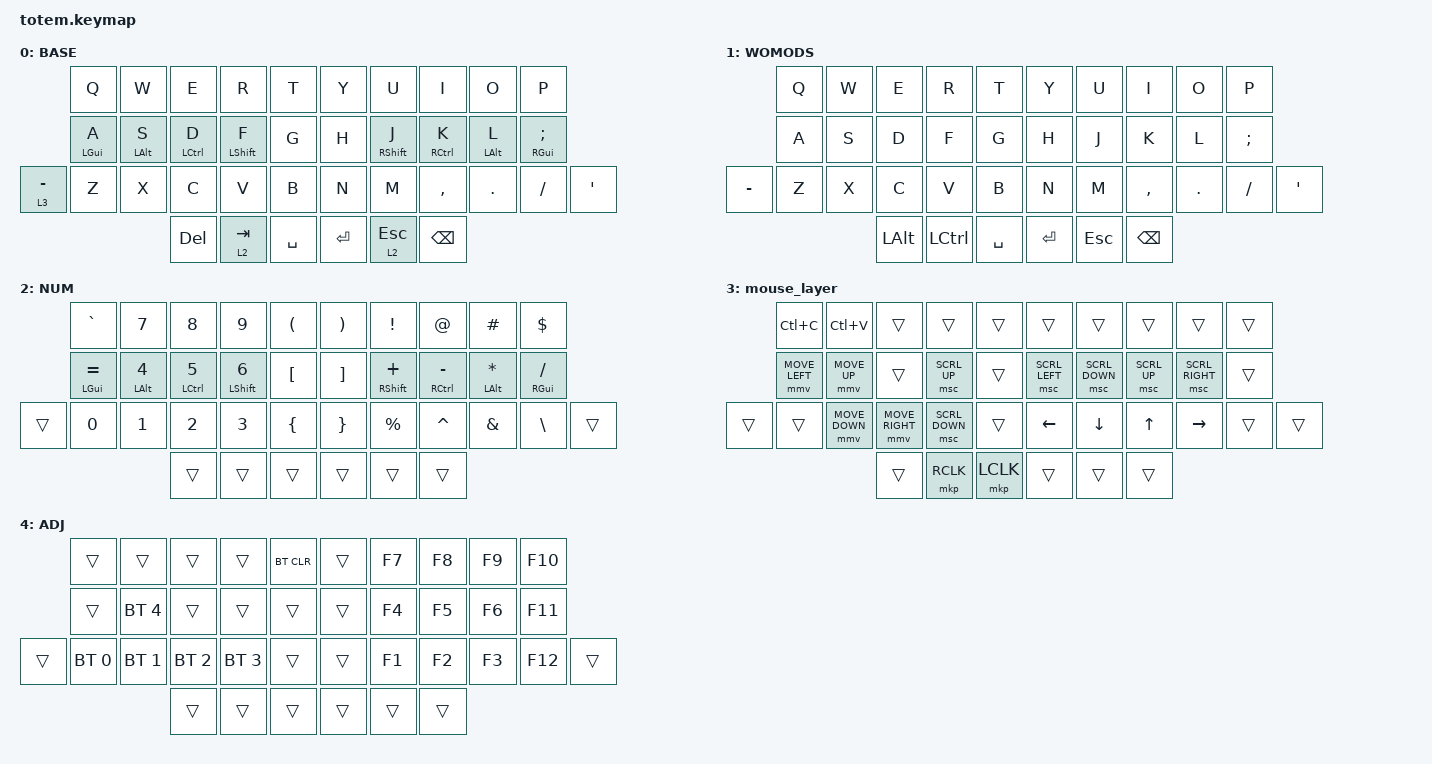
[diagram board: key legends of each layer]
//
//                                                        ▀▀▀▀▀     ▀▀▀▀▀          ▀▀█▀▀
//                                                        ▄▀▀▀▄  ▄  ▄▀▀▀▄  ▄  ▄▀▀▀▄  █  ▄▀▀▀▄
//                                                        █   █  █  █   █  █  █   █  █  █   █
//                                                         ▀▀▀   █   ▀▀▀   █   ▀▀▀   ▀   ▀▀▀
//                                                               █      ▄▄▄█▄▄▄    █   █  
//                                                               ▀      █  █  █     █▄█
//                                                             ▀▀▀▀▀    █  █  █      ▀
//                                                                      ▀  ▀  ▀
//
// ▄▄▄▄▄▄▄▄▄▄▄▄▄▄▄▄▄▄▄▄▄▄▄▄▄▄▄▄▄▄▄▄▄▄▄▄▄▄▄▄▄▄▄▄▄▄▄▄▄▄▄▄▄▄▄▄▄▄▄▄▄▄▄▄▄▄▄▄▄▄▄▄▄▄▄▄▄▄▄▄▄▄▄▄▄▄▄▄▄▄▄▄▄▄▄▄▄▄▄▄▄▄▄▄▄▄▄▄▄▄▄▄▄▄▄▄▄▄▄▄▄▄▄▄▄▄▄▄▄▄▄▄▄▄▄▄▄▄▄▄▄▄▄▄▄▄▄▄▄

#include <behaviors.dtsi>
#include <dt-bindings/zmk/bt.h>
#include <dt-bindings/zmk/keys.h>
#include <dt-bindings/zmk/pointing.h>

#define BASE 0
#define NAV  1
#define SYM  2
#define ADJ  3
#define TVP1 4
#define TVP2 5

&mt {
    quick-tap-ms = <100>;
    global-quick-tap;
    flavor = "tap-preferred";
    tapping-term-ms = <170>;
};

/ {
    combos {
        compatible = "zmk,combos";

        toggle-home-row-mods-left {
            timeout-ms = <30>;
            key-positions = <11 12 13 10>;
            bindings = <&tog 1>;
        };

        toggle-home-row-mods-right {
            bindings = <&tog 1>;
            key-positions = <16 17 18 19>;
            timeout-ms = <30>;
        };

        ralt {
            bindings = <&kp RIGHT_ALT>;
            key-positions = <18 17>;
            timeout-ms = <30>;
        };

        ralt2 {
            bindings = <&kp RIGHT_ALT>;
            key-positions = <11 12>;
            timeout-ms = <30>;
        };

        esc {
            bindings = <&kp ESC>;
            key-positions = <0 1>;
            timeout-ms = <30>;
        };

        toggle-blt {
            bindings = <&tog 4>;
            key-positions = <32 37>;
        };
    };

    macros {
        gif: gif {
            label = "giphy";
            compatible = "zmk,behavior-macro";
            #binding-cells = <0>;
            bindings =
                <&macro_press>,
                <&kp LSHFT>,
                <&macro_tap>,
                <&kp N2>,
                <&macro_release>,
                <&kp LSHFT>,
                <&macro_tap>,
                <&kp G &kp I &kp F>;
        };
    };

    keymap {
        compatible = "zmk,keymap";

        // ▄▄▄▄▄▄▄▄▄▄▄▄▄▄▄▄▄▄▄▄▄▄▄▄▄▄▄▄▄▄▄▄▄▄▄▄▄▄▄▄▄▄▄▄▄▄▄▄▄▄▄▄▄▄▄▄▄▄▄▄▄▄▄▄▄▄▄▄▄▄▄▄▄▄▄▄▄▄▄▄▄▄▄▄▄▄▄▄▄▄▄▄▄▄▄▄▄▄▄▄▄▄▄▄▄▄▄▄▄▄▄▄▄▄▄▄▄▄▄▄▄▄▄▄▄▄▄▄▄▄▄▄▄▄▄▄▄▄▄▄▄▄▄▄▄▄▄▄▄

        base_layer {
            // ┏━━━━━━━━━━━━━━━━━━━━━━━━━━━━━━━━━━━━━━━┓

            label = "BASE";

            // ┗━━━━━━━━━━━━━━━━━━━━━━━━━━━━━━━━━━━━━━━┛
            //             ┏━━━━━━━━━━━┳━━━━━━━━━━━┳━━━━━━━━━━━┳━━━━━━━━━━━┳━━━━━━━━━━━┓   ┏━━━━━━━━━━━┳━━━━━━━━━━━┳━━━━━━━━━━━┳━━━━━━━━━━━┳━━━━━━━━━━━┓
            //             ┃     Q     ┃     W     ┃     F     ┃     P     ┃     G     ┃   ┃     J     ┃     L     ┃     U     ┃     Y     ┃     ;     ┃
            //             ┣━━━━━━━━━━━╋━━━━━━━━━━━╋━━━━━━━━━━━╋━━━━━━━━━━━╋━━━━━━━━━━━┫   ┣━━━━━━━━━━━╋━━━━━━━━━━━╋━━━━━━━━━━━╋━━━━━━━━━━━╋━━━━━━━━━━━┫
            //             ┃     A     ┃     R     ┃     S     ┃     T     ┃     D     ┃   ┃     H     ┃     N     ┃     E     ┃     I     ┃     O     ┃
            // ┏━━━━━━━━━━━╋━━━━━━━━━━━╋━━━━━━━━━━━╋━━━━━━━━━━━╋━━━━━━━━━━━╋━━━━━━━━━━━┫   ┣━━━━━━━━━━━╋━━━━━━━━━━━╋━━━━━━━━━━━╋━━━━━━━━━━━╋━━━━━━━━━━━╋━━━━━━━━━━━┓
            // ┃     Q     ┃     Z     ┃     X     ┃     C     ┃     V     ┃     B     ┃   ┃     K     ┃     M     ┃     ,     ┃     .     ┃     /     ┃     \     ┃
            // ┗━━━━━━━━━━━┻━━━━━━━━━━━┻━━━━━━━━━━━╋━━━━━━━━━━━╋━━━━━━━━━━━╋━━━━━━━━━━━┫   ┣━━━━━━━━━━━╋━━━━━━━━━━━╋━━━━━━━━━━━╋━━━━━━━━━━━┻━━━━━━━━━━━┻━━━━━━━━━━━┛
            //                                     ┃    DEL    ┃    TAB    ┃    SPC    ┃   ┃   ENTER   ┃           ┃   BSPC    ┃
            //                                     ┗━━━━━━━━━━━┻━━━━━━━━━━━┻━━━━━━━━━━━┛   ┗━━━━━━━━━━━┻━━━━━━━━━━━┻━━━━━━━━━━━┛

            bindings = <
             &kp Q       &kp W       &kp E        &kp R        &kp T        &kp Y    &kp U        &kp I        &kp O       &kp P
             &mt LGUI A  &mt LALT S  &mt LCTRL D  &mt LSHFT F  &kp G        &kp H    &mt RSHFT J  &mt RCTRL K  &mt LALT L  &mt RGUI SEMICOLON
&lt 3 MINUS  &kp Z       &kp X       &kp C        &kp V        &kp B        &kp N    &kp M        &kp COMMA    &kp DOT     &kp FSLH            &kp SQT
                                     &kp DEL      &lt 2 TAB    &kp SPACE    &kp RET  &lt 2 ESC    &kp BSPC
            >;
        };

        modless_layer {
            label = "WOMODS";
            bindings = <
           &kp Q  &kp W  &kp E         &kp R      &kp T        &kp Y    &kp U    &kp I      &kp O    &kp P
           &kp A  &kp S  &kp D         &kp F      &kp G        &kp H    &kp J    &kp K      &kp L    &kp SEMICOLON
&kp MINUS  &kp Z  &kp X  &kp C         &kp V      &kp B        &kp N    &kp M    &kp COMMA  &kp DOT  &kp FSLH       &kp SQT
                         &kp LEFT_ALT  &kp LCTRL  &kp SPACE    &kp RET  &kp ESC  &kp BSPC
            >;
        };

        num_layer {
            // ┏━━━━━━━━━━━━━━━━━━━━━━━━━━━━━━━━━━━━━━━┓

            label = "NUM";

            // ┗━━━━━━━━━━━━━━━━━━━━━━━━━━━━━━━━━━━━━━━┛
            //             ┏━━━━━━━━━━━┳━━━━━━━━━━━┳━━━━━━━━━━━┳━━━━━━━━━━━┳━━━━━━━━━━━┓   ┏━━━━━━━━━━━┳━━━━━━━━━━━┳━━━━━━━━━━━┳━━━━━━━━━━━┳━━━━━━━━━━━┓
            //             ┃           ┃           ┃     UP    ┃           ┃     {     ┃   ┃     }     ┃     7     ┃     8     ┃     9     ┃     +     ┃
            //             ┣━━━━━━━━━━━╋━━━━━━━━━━━╋━━━━━━━━━━━╋━━━━━━━━━━━╋━━━━━━━━━━━┫   ┣━━━━━━━━━━━╋━━━━━━━━━━━╋━━━━━━━━━━━╋━━━━━━━━━━━╋━━━━━━━━━━━┫
            //             ┃   SHIFT   ┃   LEFT    ┃    DOWN   ┃   RIGHT   ┃     [     ┃   ┃     ]     ┃     4     ┃     5     ┃     6     ┃     -     ┃
            // ┏━━━━━━━━━━━╋━━━━━━━━━━━╋━━━━━━━━━━━╋━━━━━━━━━━━╋━━━━━━━━━━━╋━━━━━━━━━━━┫   ┣━━━━━━━━━━━╋━━━━━━━━━━━╋━━━━━━━━━━━╋━━━━━━━━━━━╋━━━━━━━━━━━╋━━━━━━━━━━━┓
            // ┃           ┃           ┃   P UP    ┃  C LOCK   ┃  P DOWN   ┃     (     ┃   ┃     )     ┃     1     ┃     2     ┃     3     ┃     *     ┃           ┃
            // ┗━━━━━━━━━━━┻━━━━━━━━━━━┻━━━━━━━━━━━╋━━━━━━━━━━━╋━━━━━━━━━━━╋━━━━━━━━━━━┫   ┣━━━━━━━━━━━╋━━━━━━━━━━━╋━━━━━━━━━━━╋━━━━━━━━━━━┻━━━━━━━━━━━┻━━━━━━━━━━━┛
            //                                     ┃           ┃    TAB    ┃    SPC    ┃   ┃    DEL    ┃     0     ┃           ┃
            //                                     ┗━━━━━━━━━━━┻━━━━━━━━━━━┻━━━━━━━━━━━┛   ┗━━━━━━━━━━━┻━━━━━━━━━━━┻━━━━━━━━━━━┛

            bindings = <
        &kp GRAVE       &kp N7             &kp N8        &kp N9               &kp LEFT_PARENTHESIS    &kp RIGHT_PARENTHESIS  &kp EXCLAMATION       &kp AT_SIGN      &kp POUND              &kp DOLLAR
        &mt LGUI EQUAL  &mt LALT NUMBER_4  &mt LCTRL N5  &mt LSHIFT NUMBER_6  &kp LBKT                &kp RBKT               &mt RIGHT_SHIFT PLUS  &mt RCTRL MINUS  &mt LEFT_ALT ASTERISK  &mt RGUI SLASH
&trans  &kp N0          &kp NUMBER_1       &kp NUMBER_2  &kp NUMBER_3         &kp LEFT_BRACE          &kp RIGHT_BRACE        &kp PERCENT           &kp CARET        &kp AMPERSAND          &kp BACKSLASH   &trans
                                           &trans        &trans               &trans                  &trans                 &trans                &trans
            >;
        };

        mouse_layer {
            bindings = <
        &kp LC(C)       &kp LC(V)       &trans           &trans          &trans       &trans          &trans          &trans        &trans           &trans
        &mmv MOVE_LEFT  &mmv MOVE_UP    &trans           &msc SCRL_UP    &trans       &msc SCRL_LEFT  &msc SCRL_DOWN  &msc SCRL_UP  &msc SCRL_RIGHT  &trans
&trans  &trans          &mmv MOVE_DOWN  &mmv MOVE_RIGHT  &msc SCRL_DOWN  &trans       &kp LEFT        &kp DOWN        &kp UP_ARROW  &kp RIGHT        &trans  &trans
                                        &trans           &mkp RCLK       &mkp LCLK    &trans          &trans          &trans
            >;
        };

        adjust_layer {
            // ┏━━━━━━━━━━━━━━━━━━━━━━━━━━━━━━━━━━━━━━━┓

            label = "ADJ";

            // ┗━━━━━━━━━━━━━━━━━━━━━━━━━━━━━━━━━━━━━━━┛
            //             ┏━━━━━━━━━━━┳━━━━━━━━━━━┳━━━━━━━━━━━┳━━━━━━━━━━━┳━━━━━━━━━━━┓   ┏━━━━━━━━━━━┳━━━━━━━━━━━┳━━━━━━━━━━━┳━━━━━━━━━━━┳━━━━━━━━━━━┓
            //             ┃   RESET   ┃ BT CLEAR  ┃  OUT TOG  ┃           ┃           ┃   ┃           ┃    F7     ┃    F8     ┃    F9     ┃    F12    ┃
            //             ┣━━━━━━━━━━━╋━━━━━━━━━━━╋━━━━━━━━━━━╋━━━━━━━━━━━╋━━━━━━━━━━━┫   ┣━━━━━━━━━━━╋━━━━━━━━━━━╋━━━━━━━━━━━╋━━━━━━━━━━━╋━━━━━━━━━━━┫
            //             ┃ BOOTLOAD  ┃ BT NEXT   ┃           ┃           ┃           ┃   ┃           ┃    F4     ┃    F5     ┃    F6     ┃    F11    ┃
            // ┏━━━━━━━━━━━╋━━━━━━━━━━━╋━━━━━━━━━━━╋━━━━━━━━━━━╋━━━━━━━━━━━╋━━━━━━━━━━━┫   ┣━━━━━━━━━━━╋━━━━━━━━━━━╋━━━━━━━━━━━╋━━━━━━━━━━━╋━━━━━━━━━━━╋━━━━━━━━━━━┓
            // ┃           ┃           ┃ BT PREV   ┃           ┃           ┃           ┃   ┃           ┃    F1     ┃    F2     ┃    F3     ┃    F10    ┃           ┃
            // ┗━━━━━━━━━━━┻━━━━━━━━━━━┻━━━━━━━━━━━╋━━━━━━━━━━━╋━━━━━━━━━━━╋━━━━━━━━━━━┫   ┣━━━━━━━━━━━╋━━━━━━━━━━━╋━━━━━━━━━━━╋━━━━━━━━━━━┻━━━━━━━━━━━┻━━━━━━━━━━━┛
            //                                     ┃           ┃           ┃           ┃   ┃           ┃           ┃           ┃
            //                                     ┗━━━━━━━━━━━┻━━━━━━━━━━━┻━━━━━━━━━━━┛   ┗━━━━━━━━━━━┻━━━━━━━━━━━┻━━━━━━━━━━━┛

            bindings = <
        &trans        &trans        &trans        &trans        &bt BT_CLR    &trans  &kp F7  &kp F8  &kp F9  &kp F10
        &trans        &bt BT_SEL 4  &trans        &trans        &trans        &trans  &kp F4  &kp F5  &kp F6  &kp F11
&trans  &bt BT_SEL 0  &bt BT_SEL 1  &bt BT_SEL 2  &bt BT_SEL 3  &trans        &trans  &kp F1  &kp F2  &kp F3  &kp F12  &trans
                                    &trans        &trans        &trans        &trans  &trans  &trans
            >;
        };
    };
};
